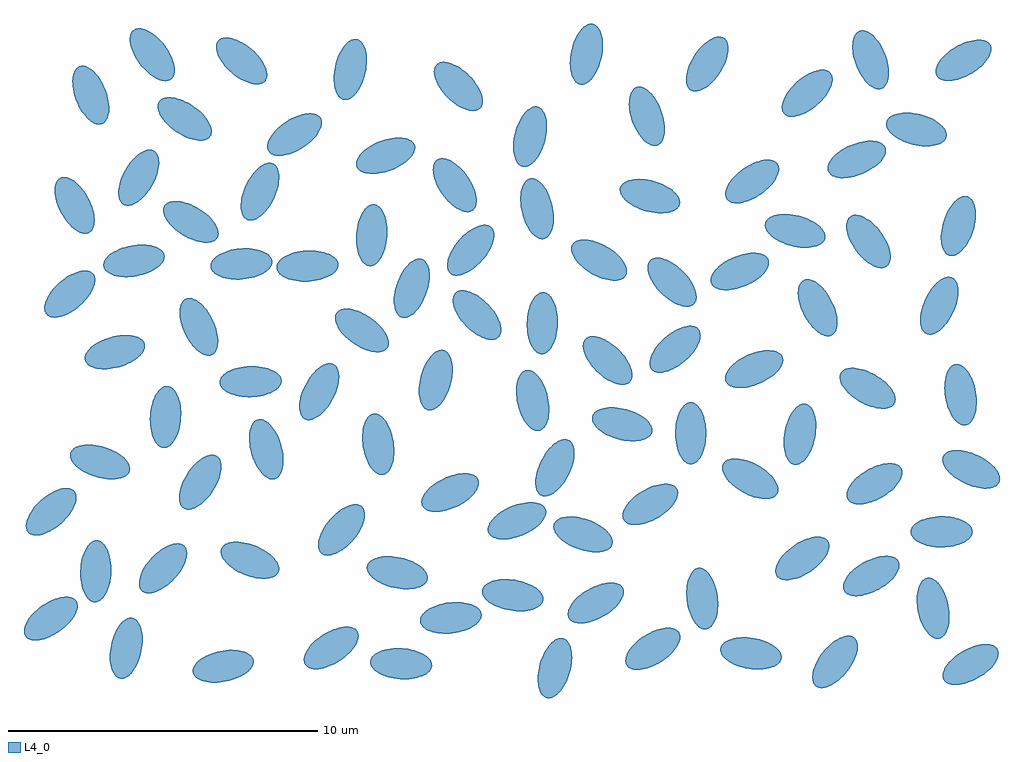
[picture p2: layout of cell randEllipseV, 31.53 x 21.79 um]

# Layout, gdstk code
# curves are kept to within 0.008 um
from math import pi, radians
import gdstk
lib = gdstk.Library(unit=1e-6, precision=1e-09)
def P(c, l, *ps):  # polygons
    for p in ps: c.add(gdstk.Polygon(p, *l))
L4_0 = (4, 0)

ellipsesv = lib.new_cell('ellipsesV')
P(ellipsesv, L4_0, [(0,-1),(-0.101,-0.98),(-0.195,-0.921),(-0.28,-0.829),(-0.354,-0.707),(-0.415,-0.559),(-0.461,-0.389),(-0.49,-0.202),(-0.5,0),(-0.49,0.202),(-0.461,0.389),(-0.415,0.559),(-0.354,0.707),(-0.28,0.829),(-0.195,0.921),(-0.101,0.98),(0,1),(0.101,0.98),(0.195,0.921),(0.28,0.829),(0.354,0.707),(0.415,0.559),(0.461,0.389),(0.49,0.202),(0.5,0),(0.49,-0.202),(0.461,-0.389),(0.415,-0.559),(0.354,-0.707),(0.28,-0.829),(0.195,-0.921),(0.101,-0.98)])

randellipsev = lib.new_cell('randEllipseV')
randellipsev.add(gdstk.Reference(ellipsesv, (0.026,1.612), rotation=radians(305.0312)))
randellipsev.add(gdstk.Reference(ellipsesv, (0.037,5.062), rotation=radians(132.0716)))
randellipsev.add(gdstk.Reference(ellipsesv, (0.638,12.095), rotation=radians(131.178)))
randellipsev.add(gdstk.Reference(ellipsesv, (0.794,14.959), rotation=radians(28.0099)))
randellipsev.add(gdstk.Reference(ellipsesv, (1.317,18.522), rotation=radians(21.4475)))
randellipsev.add(gdstk.Reference(ellipsesv, (1.477,3.139), rotation=radians(357.9441)))
randellipsev.add(gdstk.Reference(ellipsesv, (1.616,6.67), rotation=radians(252.9905)))
randellipsev.add(gdstk.Reference(ellipsesv, (2.095,10.22), rotation=radians(105.6481)))
randellipsev.add(gdstk.Reference(ellipsesv, (2.461,0.652), rotation=radians(348.4654)))
randellipsev.add(gdstk.Reference(ellipsesv, (2.712,13.17), rotation=radians(100.4328)))
randellipsev.add(gdstk.Reference(ellipsesv, (2.865,15.855), rotation=radians(330.5612)))
randellipsev.add(gdstk.Reference(ellipsesv, (3.303,19.829), rotation=radians(37.3437)))
randellipsev.add(gdstk.Reference(ellipsesv, (3.65,3.232), rotation=radians(136.8445)))
randellipsev.add(gdstk.Reference(ellipsesv, (3.731,8.125), rotation=radians(176.5311)))
randellipsev.add(gdstk.Reference(ellipsesv, (4.35,17.753), rotation=radians(235.6403)))
randellipsev.add(gdstk.Reference(ellipsesv, (4.549,14.428), rotation=radians(238.925)))
randellipsev.add(gdstk.Reference(ellipsesv, (4.806,11.036), rotation=radians(25.2329)))
randellipsev.add(gdstk.Reference(ellipsesv, (4.853,6.019), rotation=radians(147.4719)))
randellipsev.add(gdstk.Reference(ellipsesv, (5.594,0.07), rotation=radians(101.4675)))
randellipsev.add(gdstk.Reference(ellipsesv, (6.182,13.069), rotation=radians(94.9877)))
randellipsev.add(gdstk.Reference(ellipsesv, (6.189,19.626), rotation=radians(229.2976)))
randellipsev.add(gdstk.Reference(ellipsesv, (6.459,3.494), rotation=radians(247.9251)))
randellipsev.add(gdstk.Reference(ellipsesv, (6.48,9.267), rotation=radians(271.5291)))
randellipsev.add(gdstk.Reference(ellipsesv, (6.783,15.404), rotation=radians(334.9087)))
randellipsev.add(gdstk.Reference(ellipsesv, (6.986,7.08), rotation=radians(15.645)))
randellipsev.add(gdstk.Reference(ellipsesv, (7.9,17.247), rotation=radians(122.7844)))
randellipsev.add(gdstk.Reference(ellipsesv, (8.316,13), rotation=radians(272.9921)))
randellipsev.add(gdstk.Reference(ellipsesv, (8.696,8.941), rotation=radians(332.2768)))
randellipsev.add(gdstk.Reference(ellipsesv, (9.084,0.662), rotation=radians(122.6972)))
randellipsev.add(gdstk.Reference(ellipsesv, (9.416,4.475), rotation=radians(319.4192)))
randellipsev.add(gdstk.Reference(ellipsesv, (9.701,19.351), rotation=radians(347.546)))
randellipsev.add(gdstk.Reference(ellipsesv, (10.075,10.919), rotation=radians(55.0908)))
randellipsev.add(gdstk.Reference(ellipsesv, (10.394,13.997), rotation=radians(355.8829)))
randellipsev.add(gdstk.Reference(ellipsesv, (10.604,7.242), rotation=radians(8.7792)))
randellipsev.add(gdstk.Reference(ellipsesv, (10.842,16.564), rotation=radians(110.7024)))
randellipsev.add(gdstk.Reference(ellipsesv, (11.22,3.093), rotation=radians(77.7074)))
randellipsev.add(gdstk.Reference(ellipsesv, (11.343,0.154), rotation=radians(265.9478)))
randellipsev.add(gdstk.Reference(ellipsesv, (11.686,12.284), rotation=radians(340.4919)))
randellipsev.add(gdstk.Reference(ellipsesv, (12.462,9.315), rotation=radians(165.1752)))
randellipsev.add(gdstk.Reference(ellipsesv, (12.926,5.681), rotation=radians(295.404)))
randellipsev.add(gdstk.Reference(ellipsesv, (12.948,1.634), rotation=radians(96.8853)))
randellipsev.add(gdstk.Reference(ellipsesv, (13.077,15.613), rotation=radians(215.1056)))
randellipsev.add(gdstk.Reference(ellipsesv, (13.192,18.802), rotation=radians(44.7812)))
randellipsev.add(gdstk.Reference(ellipsesv, (13.59,13.512), rotation=radians(318.5555)))
randellipsev.add(gdstk.Reference(ellipsesv, (13.794,11.417), rotation=radians(223.9322)))
randellipsev.add(gdstk.Reference(ellipsesv, (14.947,2.366), rotation=radians(80.8842)))
randellipsev.add(gdstk.Reference(ellipsesv, (15.085,4.77), rotation=radians(112.3755)))
randellipsev.add(gdstk.Reference(ellipsesv, (15.509,17.18), rotation=radians(165.8052)))
randellipsev.add(gdstk.Reference(ellipsesv, (15.593,8.658), rotation=radians(12.2712)))
randellipsev.add(gdstk.Reference(ellipsesv, (15.735,14.853), rotation=radians(193.0732)))
randellipsev.add(gdstk.Reference(ellipsesv, (15.906,11.153), rotation=radians(178.6509)))
randellipsev.add(gdstk.Reference(ellipsesv, (16.31,0.01), rotation=radians(344.2447)))
randellipsev.add(gdstk.Reference(ellipsesv, (16.31,6.483), rotation=radians(333.526)))
randellipsev.add(gdstk.Reference(ellipsesv, (17.221,4.331), rotation=radians(250.3075)))
randellipsev.add(gdstk.Reference(ellipsesv, (17.329,19.843), rotation=radians(168.207)))
randellipsev.add(gdstk.Reference(ellipsesv, (17.632,2.115), rotation=radians(299.499)))
randellipsev.add(gdstk.Reference(ellipsesv, (17.739,13.191), rotation=radians(239.8297)))
randellipsev.add(gdstk.Reference(ellipsesv, (18.014,9.947), rotation=radians(45.8455)))
randellipsev.add(gdstk.Reference(ellipsesv, (18.485,7.887), rotation=radians(255.1096)))
randellipsev.add(gdstk.Reference(ellipsesv, (19.283,17.838), rotation=radians(19.746)))
randellipsev.add(gdstk.Reference(ellipsesv, (19.381,15.26), rotation=radians(74.1952)))
randellipsev.add(gdstk.Reference(ellipsesv, (19.391,5.301), rotation=radians(300.5678)))
randellipsev.add(gdstk.Reference(ellipsesv, (19.475,0.634), rotation=radians(122.2349)))
randellipsev.add(gdstk.Reference(ellipsesv, (20.096,12.478), rotation=radians(45.084)))
randellipsev.add(gdstk.Reference(ellipsesv, (20.193,10.31), rotation=radians(311.1076)))
randellipsev.add(gdstk.Reference(ellipsesv, (20.7,7.598), rotation=radians(180.1886)))
randellipsev.add(gdstk.Reference(ellipsesv, (21.071,2.256), rotation=radians(7.0114)))
randellipsev.add(gdstk.Reference(ellipsesv, (21.231,19.527), rotation=radians(147.2905)))
randellipsev.add(gdstk.Reference(ellipsesv, (22.284,12.824), rotation=radians(112.7075)))
randellipsev.add(gdstk.Reference(ellipsesv, (22.623,6.129), rotation=radians(60.885)))
randellipsev.add(gdstk.Reference(ellipsesv, (22.647,0.485), rotation=radians(260.7433)))
randellipsev.add(gdstk.Reference(ellipsesv, (22.684,15.732), rotation=radians(304.9026)))
randellipsev.add(gdstk.Reference(ellipsesv, (22.746,9.671), rotation=radians(113.6272)))
randellipsev.add(gdstk.Reference(ellipsesv, (24.073,14.136), rotation=radians(255.5568)))
randellipsev.add(gdstk.Reference(ellipsesv, (24.227,7.565), rotation=radians(349.5205)))
randellipsev.add(gdstk.Reference(ellipsesv, (24.305,3.554), rotation=radians(304.6769)))
randellipsev.add(gdstk.Reference(ellipsesv, (24.463,18.582), rotation=radians(311.4882)))
randellipsev.add(gdstk.Reference(ellipsesv, (24.801,11.654), rotation=radians(207.1893)))
randellipsev.add(gdstk.Reference(ellipsesv, (25.361,0.211), rotation=radians(321.7881)))
randellipsev.add(gdstk.Reference(ellipsesv, (26.063,16.445), rotation=radians(112.8757)))
randellipsev.add(gdstk.Reference(ellipsesv, (26.412,9.05), rotation=radians(60.2636)))
randellipsev.add(gdstk.Reference(ellipsesv, (26.442,13.795), rotation=radians(216.2953)))
randellipsev.add(gdstk.Reference(ellipsesv, (26.51,19.663), rotation=radians(200.9718)))
randellipsev.add(gdstk.Reference(ellipsesv, (26.532,2.988), rotation=radians(118.4534)))
randellipsev.add(gdstk.Reference(ellipsesv, (26.635,5.966), rotation=radians(120.153)))
randellipsev.add(gdstk.Reference(ellipsesv, (27.99,17.413), rotation=radians(256.176)))
randellipsev.add(gdstk.Reference(ellipsesv, (28.53,1.945), rotation=radians(11.1227)))
randellipsev.add(gdstk.Reference(ellipsesv, (28.73,11.718), rotation=radians(335.1034)))
randellipsev.add(gdstk.Reference(ellipsesv, (28.803,4.414), rotation=radians(270.3152)))
randellipsev.add(gdstk.Reference(ellipsesv, (29.346,14.293), rotation=radians(162.7421)))
randellipsev.add(gdstk.Reference(ellipsesv, (29.417,8.842), rotation=radians(9.3687)))
randellipsev.add(gdstk.Reference(ellipsesv, (29.51,19.647), rotation=radians(300.2577)))
randellipsev.add(gdstk.Reference(ellipsesv, (29.741,0.127), rotation=radians(299.7477)))
randellipsev.add(gdstk.Reference(ellipsesv, (29.76,6.433), rotation=radians(64.8999)))

lib.write_gds('randEllipseV.gds')
